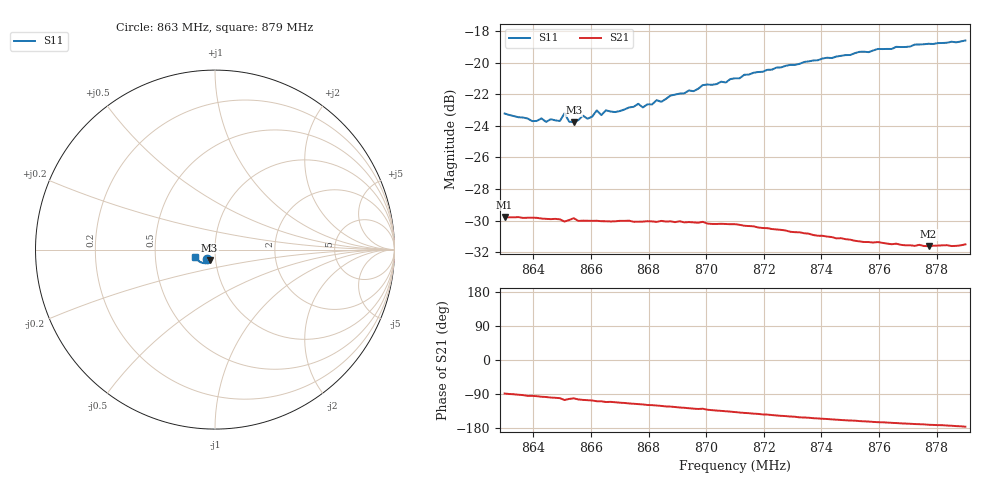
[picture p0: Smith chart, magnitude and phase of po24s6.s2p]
# HZ S RI R 50
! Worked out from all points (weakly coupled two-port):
!   101 points, 863 MHz to 879 MHz, reference 50 ohm
!   highest |S21| = -29.77 dB at 863 MHz (marker M1); lowest = -31.6 dB at 877.72 MHz (marker M2)
!   lowest |S11| = -23.8 dB at 865.4 MHz (marker M3), VSWR 1.14, Z = 46.8 - j5.38 ohm
!   |S11| at or under -10 dB: start of sweep to end of sweep
!   S12 and S22 are empty: the file has one direction only
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8.63e8  -0.0433 -0.0538  0.00089 -0.0325  0 0  0 0
8.6444e8  -0.0363 -0.0539  -0.00429 -0.0318  0 0  0 0
8.6492e8  -0.0351 -0.0551  -0.00594 -0.0314  0 0  0 0
8.6508e8  -0.0385 -0.0575  -0.00847 -0.0303  0 0  0 0
8.6524e8  -0.0366 -0.0538  -0.00703 -0.031  0 0  0 0
8.654e8  -0.0304 -0.0573  -0.00626 -0.0316  0 0  0 0
8.6572e8  -0.0336 -0.0592  -0.00834 -0.0305  0 0  0 0
8.6588e8  -0.0333 -0.0575  -0.00872 -0.0304  0 0  0 0
8.662e8  -0.036 -0.0608  -0.0102 -0.0299  0 0  0 0
8.6636e8  -0.0341 -0.0591  -0.0102 -0.0298  0 0  0 0
8.6652e8  -0.0341 -0.0619  -0.0112 -0.0294  0 0  0 0
8.6684e8  -0.0332 -0.0614  -0.0115 -0.0293  0 0  0 0
8.6764e8  -0.0354 -0.0651  -0.0139 -0.0281  0 0  0 0
8.678e8  -0.0338 -0.0638  -0.0144 -0.0279  0 0  0 0
8.6828e8  -0.0364 -0.0668  -0.0157 -0.0271  0 0  0 0
8.6844e8  -0.0354 -0.0663  -0.0163 -0.027  0 0  0 0
8.6988e8  -0.0443 -0.0725  -0.0196 -0.0245  0 0  0 0
8.71e8  -0.0491 -0.0745  -0.0227 -0.0209  0 0  0 0
8.7372e8  -0.0688 -0.0748  -0.0255 -0.0127  0 0  0 0
8.7644e8  -0.0921 -0.0611  -0.0258 -0.00651  0 0  0 0
8.7772e8  -0.1024 -0.0519  -0.0259 -0.00415  0 0  0 0
8.79e8  -0.111 -0.039  -0.0265 -0.00187  0 0  0 0
